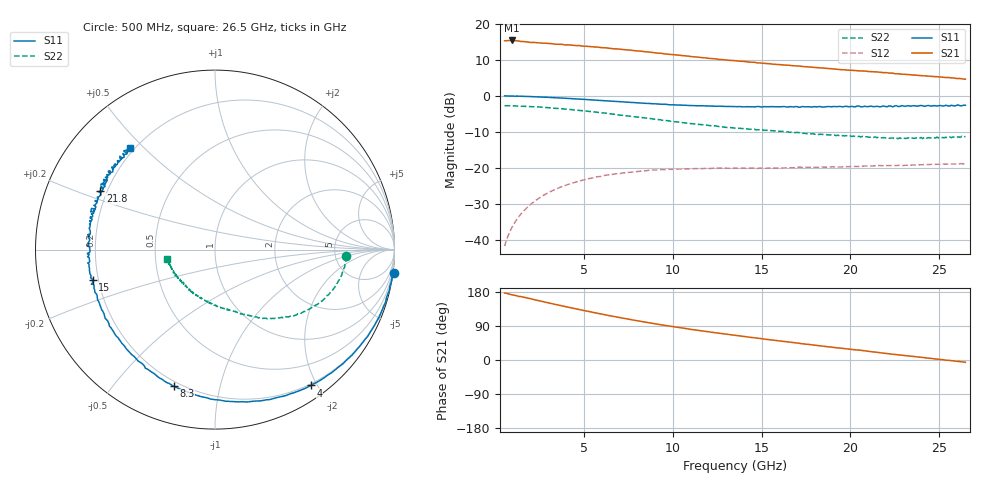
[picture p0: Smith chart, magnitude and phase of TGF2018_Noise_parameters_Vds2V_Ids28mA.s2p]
!Agilent Technologies,N5245A,MY52451605,A.09.90.02
!Agilent N5245A: A.09.90.02
!Date: Thursday, October 03, 2013 09:00:32
!Correction: S11(Full 2 Port(1,2))
!S21(Full 2 Port(1,2))
!S12(Full 2 Port(1,2))
!S22(Full 2 Port(1,2))
!S2P File: Measurements: S11, S21, S12, S22:
# Hz S  MA  R 50
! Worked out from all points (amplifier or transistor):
!   261 points, 500 MHz to 26.5 GHz, reference 50 ohm
!   highest |S21| = 15.4 dB at 900 MHz (marker M1)
!   |S21| within 3 dB of that: start of sweep to 8.189 GHz
!   unconditionally stable (mu >= 1): 25.5592 GHz to 25.6237 GHz; 25.85879 GHz to 25.96023 GHz; 26.19598 GHz to 26.3245 GHz
!   at 4.8 GHz: K = 0.23, MSG = 18.8 dB, |S12| = -23.6 dB
!   at 13.5 GHz: K = 0.71, MSG = 15.0 dB, |S12| = -20.1 dB
!   at 26.5 GHz: K = 0.98, MSG = 11.8 dB, |S12| = -18.9 dB
!   lowest NFmin = 0.57 dB at 2 GHz
!   S11 on the Smith chart (normalised r, x): 500 MHz: -0, -15; 4 GHz: 0.18, -1.92; 8.3 GHz: 0.18, -0.73; 15 GHz: 0.18, -0.12; 21.8 GHz: 0.17, +0.23; 26.5 GHz: 0.18, +0.45
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5e8  1.004 -7.5  5.858 176.9  0.008112 84.1  0.7314 -2.8
9e8  0.9979 -13.1  5.922 172.2  0.01459 81.3  0.7302 -6.0
1.3e9  0.9915 -18.5  5.822 167.8  0.02088 78.3  0.7249 -9.0
1.4e9  0.9905 -20.0  5.738 167.5  0.02242 77.5  0.7227 -9.6
1.7e9  0.9855 -24.0  5.685 164.4  0.02701 75.2  0.7188 -11.8
2.9e9  0.9566 -40.3  5.406 151.4  0.04415 65.9  0.6901 -19.8
4e9  0.9267 -54.8  5.142 140.2  0.05771 57.9  0.6537 -26.5
4.7e9  0.9045 -63.9  5.042 133.2  0.06518 53.1  0.6294 -30.6
4.9e9  0.8972 -66.2  4.94 131.3  0.06717 51.7  0.623 -31.8
5.7e9  0.8702 -76.3  4.802 123.7  0.07506 46.3  0.5956 -36.9
6.3e9  0.8515 -83.7  4.663 118.1  0.07944 42.3  0.5706 -40.3
7.2e9  0.8245 -94.3  4.433 110.2  0.08505 37.4  0.5372 -45.1
8.3e9  0.7953 -106.8  4.171 100.9  0.09048 32.0  0.4987 -50.4
9.2e9  0.7689 -116.4  3.94 93.9  0.09427 27.4  0.4679 -54.9
1.1e10  0.7363 -134.1  3.537 80.9  0.09661 19.9  0.4128 -62.5
1.24e10  0.7178 -146.3  3.281 71.9  0.09935 15.1  0.3818 -69.1
1.35e10  0.7106 -155.1  3.095 65.1  0.09865 11.5  0.3569 -73.5
1.5e10  0.7009 -166.2  2.869 56.1  0.0991 8.5  0.3364 -80.4
1.79e10  0.7043 174.7  2.506 39.7  0.1018 3.2  0.2997 -96.5
2.18e10  0.7175 152.9  2.124 18.4  0.1068 -3.0  0.262 -126.7
2.22e10  0.7276 150.9  2.08 16.3  0.1069 -3.5  0.2568 -129.2
2.65e10  0.7416 129.9  1.713 -6.2  0.1132 -9.3  0.2731 -168.7
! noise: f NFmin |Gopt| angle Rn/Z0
2e+09  0.57  0.71  17.58  0.291
4e+09  0.61  0.65  32.18  0.275
7e+09  0.78  0.56  61.44  0.23
1e+10  1  0.5  92.27  0.173
1.2e+10  1.17  0.47  112.9  0.138
1.5e+10  1.38  0.45  142.8  0.1
1.8e+10  1.6  0.46  170  0.082
2e+10  1.73  0.48  -174.2  0.083
2.3e+10  2.01  0.53  -155  0.116
2.6e+10  2.15  0.59  -143.5  0.155
